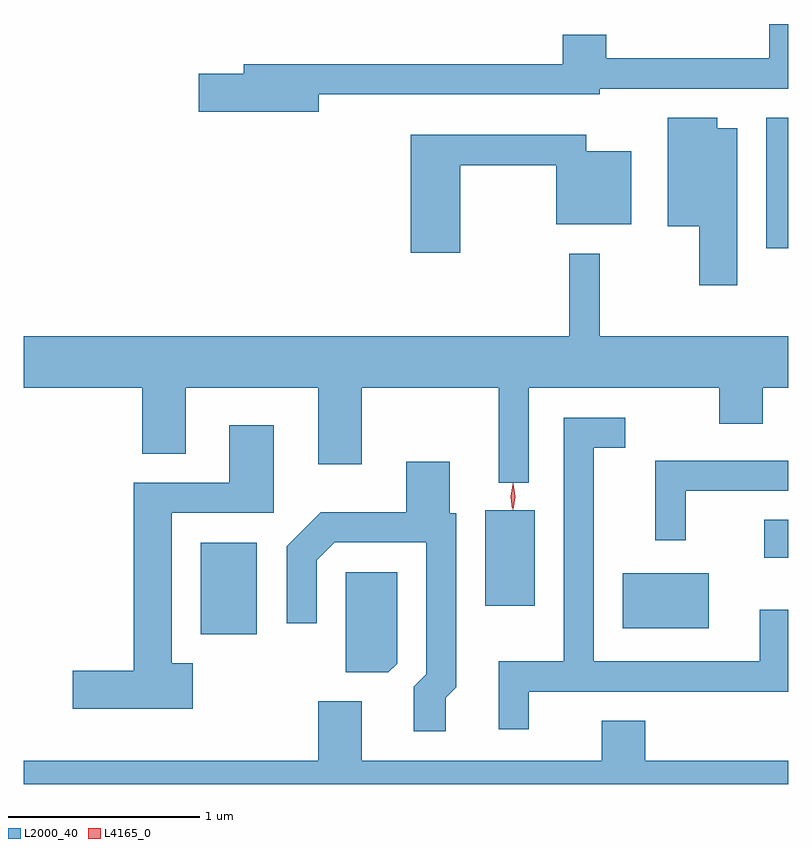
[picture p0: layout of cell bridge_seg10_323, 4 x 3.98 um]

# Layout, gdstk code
import gdstk
lib = gdstk.Library(unit=1e-6, precision=1e-09)
def R(c, l, rs):  # rectangles x0, y0, x1, y1
    for r in rs: c.add(gdstk.rectangle(r[:2], r[2:], *l))
def P(c, l, *ps):  # polygons
    for p in ps: c.add(gdstk.Polygon(p, *l))
L2000_40 = (2000, 40)
L4165_0 = (4165, 0)

bridge_seg10_323 = lib.new_cell('bridge_seg10_323')
R(bridge_seg10_323, L2000_40, [(1349.696,2161.466,1349.989,2161.944), (1351.906,2161.496,1352.354,2161.784), (1351.186,2161.616,1351.444,2162.114), (1352.646,2161.866,1352.771,2162.064), (1352.656,2163.486,1352.771,2164.169)])
P(bridge_seg10_323, L2000_40, [(1350.314,2164.291),(1351.784,2164.291),(1351.784,2164.321),(1352.771,2164.321),(1352.771,2164.659),(1352.671,2164.659),(1352.671,2164.479),(1351.819,2164.479),(1351.819,2164.604),(1351.591,2164.604),(1351.591,2164.449),(1349.921,2164.449),(1349.921,2164.399),(1349.686,2164.399),(1349.686,2164.201),(1350.314,2164.201)],
  [(1352.504,2164.114),(1352.399,2164.114),(1352.399,2164.169),(1352.141,2164.169),(1352.141,2163.601),(1352.306,2163.601),(1352.306,2163.291),(1352.504,2163.291)],
  [(1351.054,2163.921),(1351.556,2163.921),(1351.556,2163.611),(1351.949,2163.611),(1351.949,2163.994),(1351.714,2163.994),(1351.714,2164.079),(1350.796,2164.079),(1350.796,2163.461),(1351.054,2163.461)],
  [(1351.414,2162.756),(1352.411,2162.756),(1352.411,2162.566),(1352.639,2162.566),(1352.639,2162.756),(1352.771,2162.756),(1352.771,2163.024),(1351.784,2163.024),(1351.784,2163.458),(1351.626,2163.458),(1351.626,2163.024),(1348.771,2163.024),(1348.771,2162.756),(1349.391,2162.756),(1349.391,2162.411),(1349.619,2162.411),(1349.619,2162.756),(1350.311,2162.756),(1350.311,2162.356),(1350.539,2162.356),(1350.539,2162.756),(1351.256,2162.756),(1351.256,2162.258),(1351.414,2162.258)],
  [(1351.414,2161.166),(1352.771,2161.166),(1352.771,2161.593),(1352.621,2161.593),(1352.621,2161.324),(1351.754,2161.324),(1351.754,2162.441),(1351.918,2162.441),(1351.918,2162.599),(1351.596,2162.599),(1351.596,2161.324),(1351.256,2161.324),(1351.256,2160.968),(1351.414,2160.968)],
  [(1349.654,2161.314),(1349.544,2161.314),(1349.544,2162.101),(1350.079,2162.101),(1350.079,2162.559),(1349.846,2162.559),(1349.846,2162.259),(1349.346,2162.259),(1349.346,2161.274),(1349.026,2161.274),(1349.026,2161.076),(1349.654,2161.076)],
  [(1352.234,2162.216),(1352.771,2162.216),(1352.771,2162.374),(1352.076,2162.374),(1352.076,2161.958),(1352.234,2161.958)],
  [(1350.979,2161.134),(1351.034,2161.189),(1351.034,2162.099),(1350.999,2162.099),(1350.999,2162.369),(1350.771,2162.369),(1350.771,2162.104),(1350.324,2162.104),(1350.146,2161.927),(1350.146,2161.523),(1350.304,2161.523),(1350.304,2161.854),(1350.397,2161.946),(1350.876,2161.946),(1350.876,2161.257),(1350.811,2161.192),(1350.811,2160.958),(1350.979,2160.958)],
  [(1350.724,2161.312),(1350.724,2161.789),(1350.456,2161.789),(1350.456,2161.266),(1350.679,2161.266)],
  [(1352.771,2160.804),(1352.024,2160.804),(1352.024,2161.014),(1351.796,2161.014),(1351.796,2160.804),(1350.539,2160.804),(1350.539,2161.114),(1350.311,2161.114),(1350.311,2160.804),(1348.771,2160.804),(1348.771,2160.682),(1352.771,2160.682)])
P(bridge_seg10_323, L4165_0, [(1351.331,2162.118),(1351.322,2162.186),(1351.331,2162.255),(1351.332,2162.255),(1351.332,2162.255),(1351.342,2162.186),(1351.332,2162.118),(1351.332,2162.118)],
  [(1351.326,2162.121),(1351.326,2162.121),(1351.318,2162.186),(1351.329,2162.251),(1351.329,2162.252),(1351.33,2162.251),(1351.338,2162.186),(1351.327,2162.121)])

lib.write_gds('bridge_seg10_323.gds')
